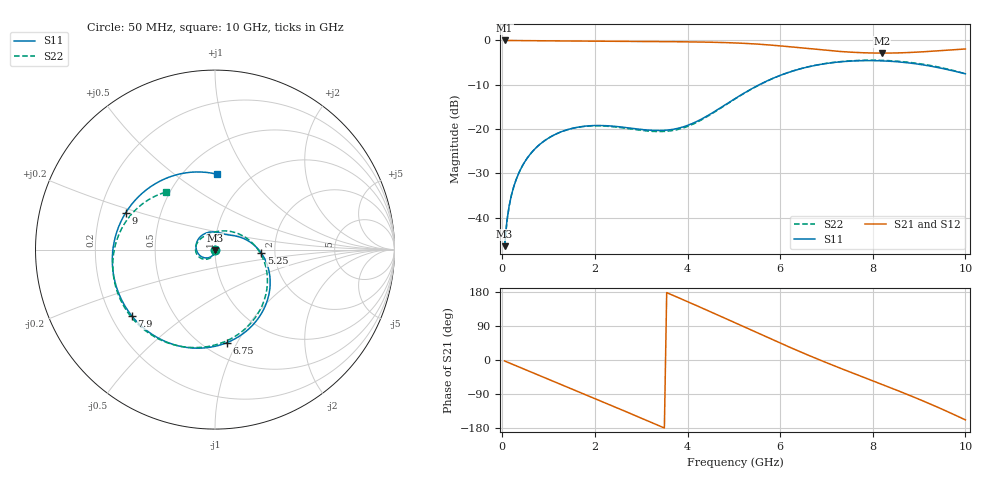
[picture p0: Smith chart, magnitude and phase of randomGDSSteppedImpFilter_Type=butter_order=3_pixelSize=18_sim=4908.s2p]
! freq	dB(S11)	phase(S11)	dB(S12)	phase(S12)
!  dB(S21)	phase(S21)	dB(S22)	phase(S22)
!S-par simulation data
#  GHz  S  DB  R 50
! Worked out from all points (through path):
!   200 points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, 50 MHz to 10 GHz, reference 50 ohm
!   highest |S21| = 0.00 dB at 50 MHz (marker M1); lowest = -2.9 dB at 8.2 GHz (marker M2)
!   group delay of S21, straight-line fit = 144 ps
!   lowest |S11| = -46.4 dB at 50 MHz (marker M3), VSWR 1.01, Z = 50 - j0.478 ohm
!   |S11| at or under -10 dB: start of sweep to 5.548 GHz
!   |S22| runs from -46.4 to -4.5 dB; largest |S21 - S12| = 0
!   S11 on the Smith chart (normalised r, x): 50 MHz: 1.00, -0.01; 5.25 GHz: 1.70, -0.08; 6.75 GHz: 0.64, -0.91; 7.9 GHz: 0.28, -0.33; 9 GHz: 0.31, +0.18; 10 GHz: 0.71, +0.73
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0.05  -46.41 -92.0  -0.00 -2.6  -0.00 -2.6  -46.39 -91.2
0.1  -40.60 -95.1  -0.01 -5.2  -0.01 -5.2  -40.81 -93.5
0.2  -34.78 -101.2  -0.02 -10.3  -0.02 -10.3  -34.82 -99.3
0.5  -27.15 -118.5  -0.04 -25.6  -0.04 -25.6  -27.13 -114.0
1.15  -21.15 -155.4  -0.10 -58.7  -0.10 -58.7  -21.16 -144.1
1.75  -19.38 170.1  -0.15 -89.2  -0.15 -89.2  -19.42 -171.2
2.5  -19.45 125.7  -0.20 -127.5  -0.20 -127.5  -19.59 155.7
3.4  -20.32 74.8  -0.26 -174.2  -0.26 -174.2  -20.56 112.2
4.15  -18.52 42.6  -0.34 146.0  -0.34 146.0  -18.73 64.4
4.6  -15.93 24.9  -0.42 121.6  -0.42 121.6  -16.05 34.2
5.05  -12.97 5.0  -0.57 96.9  -0.57 96.9  -13.03 5.8
5.25  -11.71 -4.7  -0.67 85.9  -0.67 85.9  -11.76 -6.2
6  -7.88 -43.3  -1.23 44.7  -1.23 44.7  -7.90 -48.5
6.7  -5.75 -80.0  -1.94 8.0  -1.94 8.0  -5.73 -84.5
6.75  -5.64 -82.6  -1.99 5.4  -1.99 5.4  -5.62 -87.0
7.3  -4.83 -110.8  -2.49 -21.7  -2.49 -21.7  -4.78 -112.8
7.9  -4.54 -141.4  -2.81 -50.3  -2.81 -50.3  -4.46 -139.3
8.2  -4.60 -157.0  -2.86 -64.5  -2.86 -64.5  -4.49 -152.2
8.35  -4.68 -165.0  -2.85 -71.6  -2.85 -71.6  -4.56 -158.6
9  -5.38 157.8  -2.61 -103.6  -2.61 -103.6  -5.22 173.8
9.55  -6.43 121.9  -2.24 -132.7  -2.24 -132.7  -6.30 150.0
10  -7.52 88.8  -1.93 -158.1  -1.93 -158.1  -7.53 130.2
